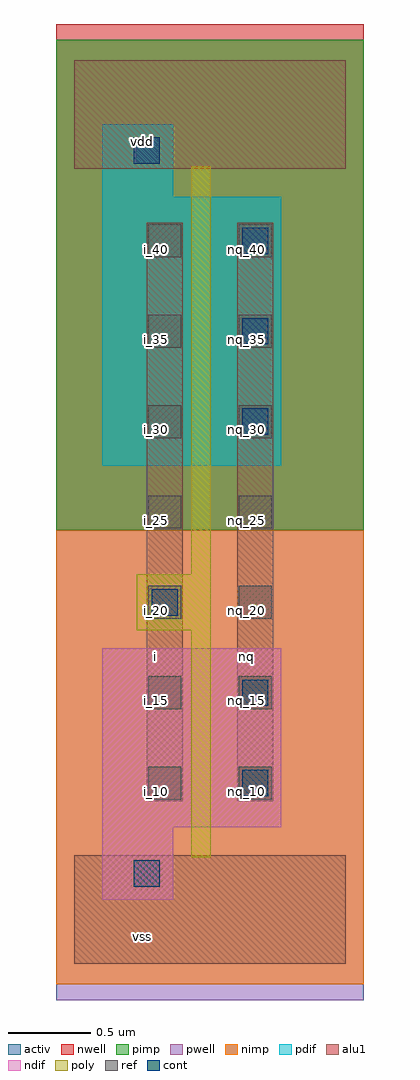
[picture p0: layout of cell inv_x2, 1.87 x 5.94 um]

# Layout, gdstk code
import gdstk
lib = gdstk.Library(unit=1e-6, precision=2.5e-09)
def R(c, l, rs):  # rectangles x0, y0, x1, y1
    for r in rs: c.add(gdstk.rectangle(r[:2], r[2:], *l))
def A(c, l, x, y, w, h, nx, ny, dx, dy):  # array of equal rectangles
    R(c, l, [(x+i*dx, y+j*dy, x+i*dx+w, y+j*dy+h) for i in range(nx) for j in range(ny)])
ndif = (3, 0)
pdif = (4, 0)
ref = (24, 0)
cont = (25, 0)
pwell = (41, 0)
nwell = (42, 0)
activ = (43, 0)
pimp = (44, 0)
nimp = (45, 0)
poly = (46, 0)
alu1 = (49, 0)

inv_x2 = lib.new_cell('inv_x2')
R(inv_x2, ndif, [(0.17,0.39,0.6,0.83), (0.17,0.39,0.6,0.83), (0.17,0.83,1.26,1.92), (0.17,0.83,1.26,1.92)])
R(inv_x2, pdif, [(0.17,3.03,1.26,4.67), (0.17,3.03,1.26,4.67), (0.17,4.67,0.6,5.11), (0.17,4.67,0.6,5.11)])
A(inv_x2, ref, 0.45, 1, 0.2, 0.2, 1, 7, 0, 0.55)
A(inv_x2, ref, 1, 1, 0.2, 0.2, 1, 7, 0, 0.55)
A(inv_x2, cont, 1.02, 3.22, 0.16, 0.16, 1, 3, 0, 0.55)
R(inv_x2, cont, [(0.36,0.47,0.52,0.63), (1.02,1.02,1.18,1.18), (1.02,1.57,1.18,1.73), (0.47,2.12,0.63,2.28), (0.36,4.87,0.52,5.03)])
R(inv_x2, pwell, [(-0.11,-0.22,1.76,2.64)])
R(inv_x2, nwell, [(-0.11,2.64,1.76,5.72)])
R(inv_x2, activ, [(0.17,0.39,0.6,0.83), (0.17,0.39,0.6,0.83), (0.17,0.83,1.26,1.92), (0.17,0.83,1.26,1.92), (0.17,3.03,1.26,4.67), (0.17,3.03,1.26,4.67), (0.17,4.67,0.6,5.11), (0.17,4.67,0.6,5.11)])
R(inv_x2, pimp, [(-0.11,2.64,1.76,5.625)])
R(inv_x2, nimp, [(-0.11,-0.125,1.76,2.64)])
R(inv_x2, poly, [(0.71,0.65,0.83,2.03), (0.38,2.03,0.83,2.37), (0.71,2.37,0.83,4.85)])
R(inv_x2, alu1, [(0,0,1.65,0.66), (0.44,0.99,0.66,4.51), (0.99,0.99,1.21,4.51), (0,4.84,1.65,5.5)])
inv_x2.add(gdstk.Label('vss', (0.4125,0.165), layer=49, texttype=0))
inv_x2.add(gdstk.Label('nq', (1.045,1.87), layer=49, texttype=0))
inv_x2.add(gdstk.Label('i', (0.495,1.87), layer=49, texttype=0))
inv_x2.add(gdstk.Label('vdd', (0.4125,5.005), layer=49, texttype=0))
inv_x2.add(gdstk.Label('nq_40', (1.05,4.35), layer=24, texttype=0))
inv_x2.add(gdstk.Label('nq_35', (1.05,3.8), layer=24, texttype=0))
inv_x2.add(gdstk.Label('nq_30', (1.05,3.25), layer=24, texttype=0))
inv_x2.add(gdstk.Label('nq_25', (1.05,2.7), layer=24, texttype=0))
inv_x2.add(gdstk.Label('nq_20', (1.05,2.15), layer=24, texttype=0))
inv_x2.add(gdstk.Label('nq_15', (1.05,1.6), layer=24, texttype=0))
inv_x2.add(gdstk.Label('nq_10', (1.05,1.05), layer=24, texttype=0))
inv_x2.add(gdstk.Label('i_10', (0.5,1.05), layer=24, texttype=0))
inv_x2.add(gdstk.Label('i_15', (0.5,1.6), layer=24, texttype=0))
inv_x2.add(gdstk.Label('i_20', (0.5,2.15), layer=24, texttype=0))
inv_x2.add(gdstk.Label('i_25', (0.5,2.7), layer=24, texttype=0))
inv_x2.add(gdstk.Label('i_30', (0.5,3.25), layer=24, texttype=0))
inv_x2.add(gdstk.Label('i_35', (0.5,3.8), layer=24, texttype=0))
inv_x2.add(gdstk.Label('i_40', (0.5,4.35), layer=24, texttype=0))

lib.write_gds('inv_x2.gds')
